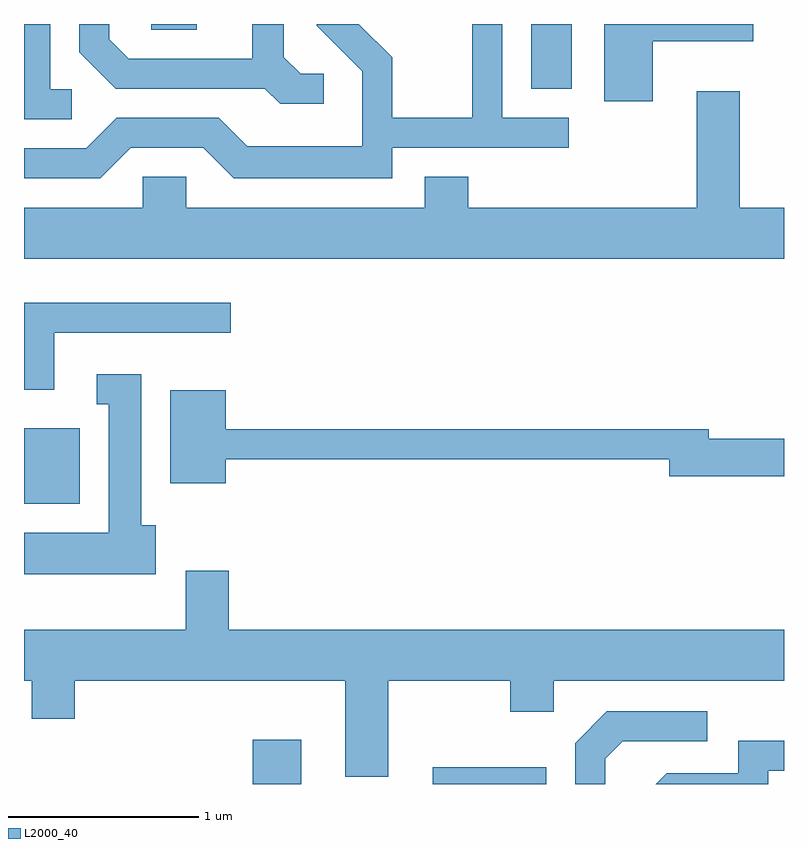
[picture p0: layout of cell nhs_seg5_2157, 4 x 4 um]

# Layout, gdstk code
import gdstk
lib = gdstk.Library(unit=1e-6, precision=1e-09)
def R(c, l, rs):  # rectangles x0, y0, x1, y1
    for r in rs: c.add(gdstk.rectangle(r[:2], r[2:], *l))
def P(c, l, *ps):  # polygons
    for p in ps: c.add(gdstk.Polygon(p, *l))
L2000_40 = (2000, 40)

nhs_seg5_2157 = lib.new_cell('nhs_seg5_2157')
R(nhs_seg5_2157, L2000_40, [(250.816,1414.072,251.069,1414.304), (251.761,1414.072,252.359,1414.159), (249.611,1415.546,249.904,1415.944), (252.281,1417.731,252.494,1418.072), (250.281,1418.041,250.519,1418.072)])
P(nhs_seg5_2157, L2000_40, [(251.188,1417.809),(251.067,1417.809),(250.979,1417.897),(250.979,1418.072),(250.811,1418.072),(250.811,1417.889),(250.162,1417.889),(250.059,1417.992),(250.059,1418.072),(249.901,1418.072),(249.901,1417.924),(250.094,1417.731),(250.879,1417.731),(250.959,1417.651),(251.188,1417.651)],
  [(249.863,1417.729),(249.749,1417.729),(249.749,1418.072),(249.611,1418.072),(249.611,1417.571),(249.863,1417.571)],
  [(252.919,1417.981),(253.449,1417.981),(253.449,1418.072),(252.666,1418.072),(252.666,1417.666),(252.919,1417.666)],
  [(250.172,1417.421),(250.554,1417.421),(250.714,1417.261),(251.549,1417.261),(251.549,1417.421),(252.478,1417.421),(252.478,1417.579),(252.129,1417.579),(252.129,1418.072),(251.971,1418.072),(251.971,1417.579),(251.549,1417.579),(251.549,1417.897),(251.374,1418.072),(251.151,1418.072),(251.151,1418.064),(251.391,1417.824),(251.391,1417.429),(250.787,1417.429),(250.637,1417.579),(250.099,1417.579),(249.939,1417.419),(249.611,1417.419),(249.611,1417.261),(250.012,1417.261)],
  [(253.611,1417.104),(253.379,1417.104),(253.379,1417.719),(253.151,1417.719),(253.151,1417.104),(251.949,1417.104),(251.949,1417.269),(251.721,1417.269),(251.721,1417.104),(250.464,1417.104),(250.464,1417.269),(250.236,1417.269),(250.236,1417.104),(249.611,1417.104),(249.611,1416.836),(253.611,1416.836)],
  [(249.769,1416.446),(250.698,1416.446),(250.698,1416.604),(249.611,1416.604),(249.611,1416.146),(249.769,1416.146)],
  [(250.304,1415.434),(250.229,1415.434),(250.229,1416.229),(249.993,1416.229),(249.993,1416.071),(250.056,1416.071),(250.056,1415.394),(249.611,1415.394),(249.611,1415.176),(250.304,1415.176)],
  [(250.674,1415.781),(253.006,1415.781),(253.006,1415.691),(253.611,1415.691),(253.611,1415.889),(253.214,1415.889),(253.214,1415.939),(250.674,1415.939),(250.674,1416.144),(250.381,1416.144),(250.381,1415.656),(250.674,1415.656)],
  [(251.529,1414.616),(252.171,1414.616),(252.171,1414.451),(252.399,1414.451),(252.399,1414.616),(253.611,1414.616),(253.611,1414.884),(250.689,1414.884),(250.689,1415.194),(250.461,1415.194),(250.461,1414.884),(249.611,1414.884),(249.611,1414.616),(249.651,1414.616),(249.651,1414.416),(249.879,1414.416),(249.879,1414.616),(251.301,1414.616),(251.301,1414.111),(251.529,1414.111)],
  [(252.669,1414.204),(252.762,1414.296),(253.208,1414.296),(253.208,1414.454),(252.679,1414.454),(252.511,1414.287),(252.511,1414.072),(252.669,1414.072)],
  [(253.529,1414.141),(253.611,1414.141),(253.611,1414.299),(253.371,1414.299),(253.371,1414.129),(252.994,1414.129),(252.937,1414.072),(253.529,1414.072)])

lib.write_gds('nhs_seg5_2157.gds')
